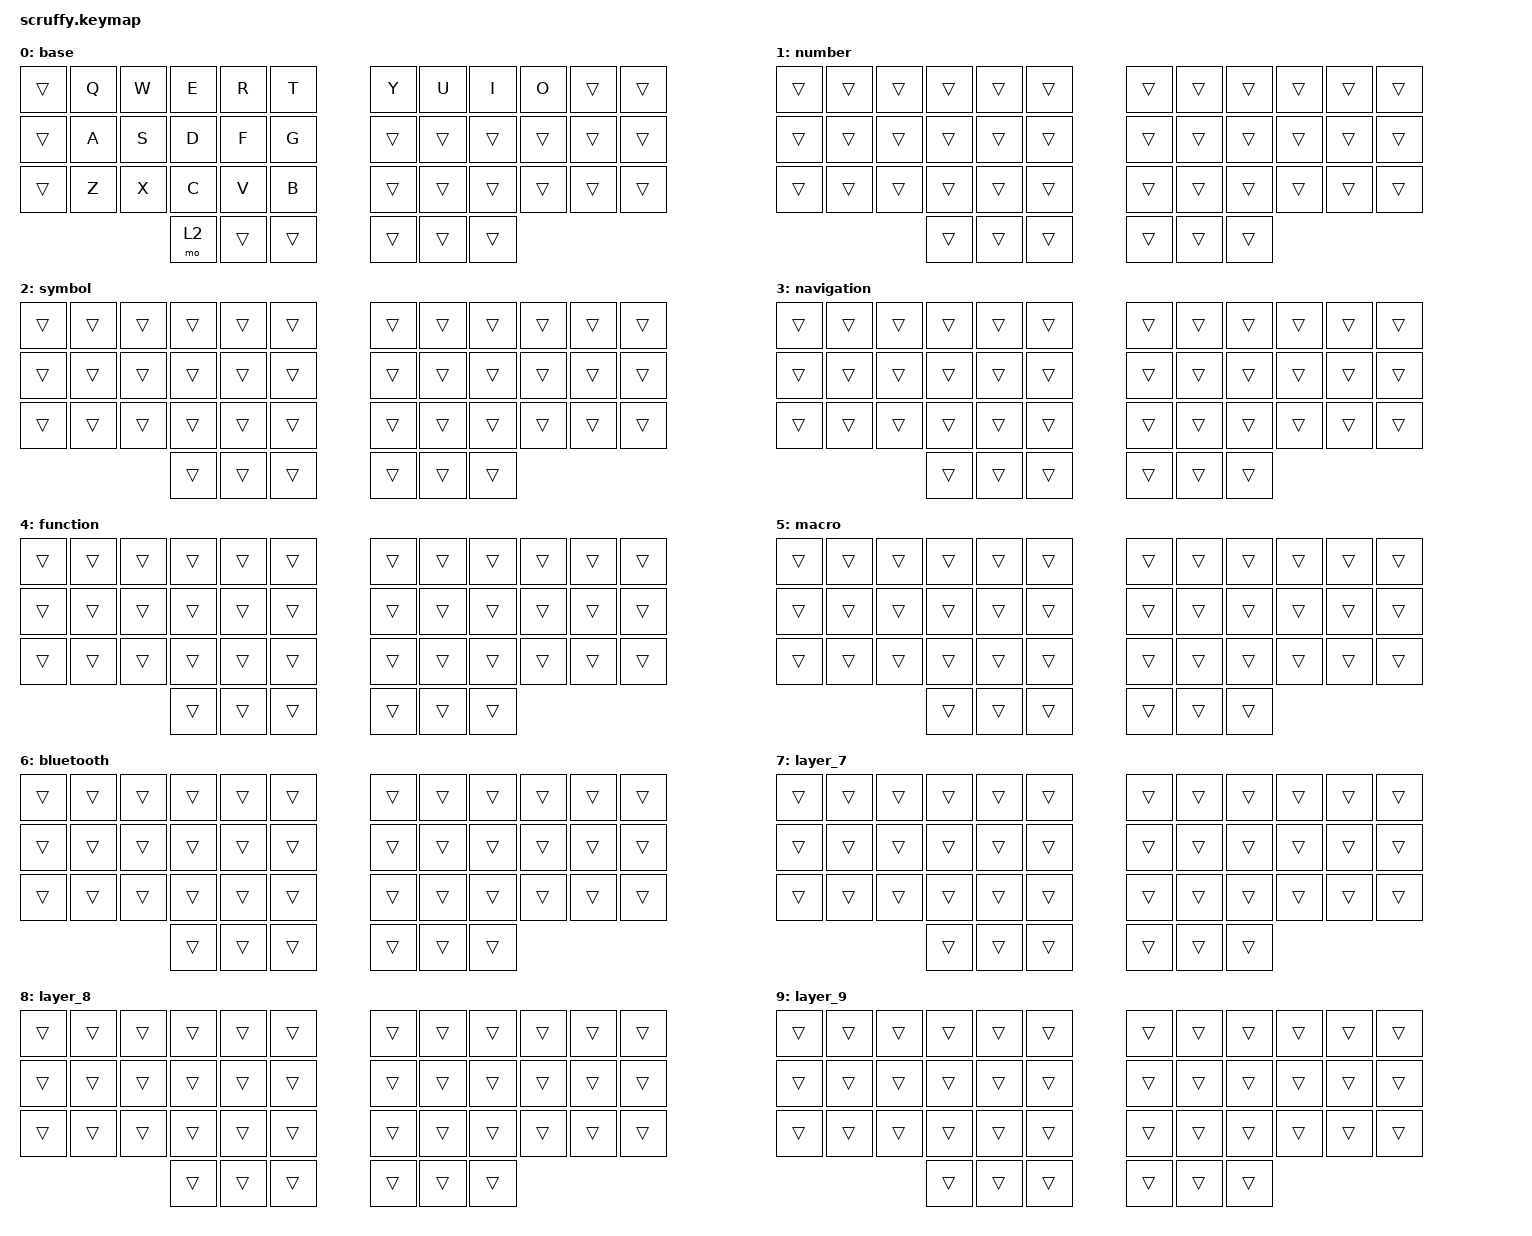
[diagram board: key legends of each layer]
// This file was generated from a template. Edit it to match your keyboard.
// See https://zmk.dev/docs/development/hardware-integration/new-shield for more instructions.

#include <behaviors.dtsi>
#include <dt-bindings/zmk/keys.h>

/ {
    // Define a default keymap here.
    // See https://zmk.dev/docs/development/hardware-integration/new-shield#default-keymap.

    keymap {
        compatible = "zmk,keymap";

        base {
            bindings = <
&trans  &kp Q  &kp W  &kp E  &kp R   &kp T     &kp Y   &kp U   &kp I   &kp O   &trans  &trans
&trans  &kp A  &kp S  &kp D  &kp F   &kp G     &trans  &trans  &trans  &trans  &trans  &trans
&trans  &kp Z  &kp X  &kp C  &kp V   &kp B     &trans  &trans  &trans  &trans  &trans  &trans
                      &mo 2  &trans  &trans    &trans  &trans  &trans
            >;
        };

        number {
            bindings = <
&trans  &trans  &trans  &trans  &trans  &trans    &trans  &trans  &trans  &trans  &trans  &trans
&trans  &trans  &trans  &trans  &trans  &trans    &trans  &trans  &trans  &trans  &trans  &trans
&trans  &trans  &trans  &trans  &trans  &trans    &trans  &trans  &trans  &trans  &trans  &trans
                        &trans  &trans  &trans    &trans  &trans  &trans
            >;
        };

        symbol {
            bindings = <
&trans  &trans  &trans  &trans  &trans  &trans    &trans  &trans  &trans  &trans  &trans  &trans
&trans  &trans  &trans  &trans  &trans  &trans    &trans  &trans  &trans  &trans  &trans  &trans
&trans  &trans  &trans  &trans  &trans  &trans    &trans  &trans  &trans  &trans  &trans  &trans
                        &trans  &trans  &trans    &trans  &trans  &trans
            >;
        };

        navigation {
            bindings = <
&trans  &trans  &trans  &trans  &trans  &trans    &trans  &trans  &trans  &trans  &trans  &trans
&trans  &trans  &trans  &trans  &trans  &trans    &trans  &trans  &trans  &trans  &trans  &trans
&trans  &trans  &trans  &trans  &trans  &trans    &trans  &trans  &trans  &trans  &trans  &trans
                        &trans  &trans  &trans    &trans  &trans  &trans
            >;
        };

        function {
            bindings = <
&trans  &trans  &trans  &trans  &trans  &trans    &trans  &trans  &trans  &trans  &trans  &trans
&trans  &trans  &trans  &trans  &trans  &trans    &trans  &trans  &trans  &trans  &trans  &trans
&trans  &trans  &trans  &trans  &trans  &trans    &trans  &trans  &trans  &trans  &trans  &trans
                        &trans  &trans  &trans    &trans  &trans  &trans
            >;
        };

        macro {
            bindings = <
&trans  &trans  &trans  &trans  &trans  &trans    &trans  &trans  &trans  &trans  &trans  &trans
&trans  &trans  &trans  &trans  &trans  &trans    &trans  &trans  &trans  &trans  &trans  &trans
&trans  &trans  &trans  &trans  &trans  &trans    &trans  &trans  &trans  &trans  &trans  &trans
                        &trans  &trans  &trans    &trans  &trans  &trans
            >;
        };

        bluetooth {
            bindings = <
&trans  &trans  &trans  &trans  &trans  &trans    &trans  &trans  &trans  &trans  &trans  &trans
&trans  &trans  &trans  &trans  &trans  &trans    &trans  &trans  &trans  &trans  &trans  &trans
&trans  &trans  &trans  &trans  &trans  &trans    &trans  &trans  &trans  &trans  &trans  &trans
                        &trans  &trans  &trans    &trans  &trans  &trans
            >;
        };

        layer_7 {
            bindings = <
&trans  &trans  &trans  &trans  &trans  &trans    &trans  &trans  &trans  &trans  &trans  &trans
&trans  &trans  &trans  &trans  &trans  &trans    &trans  &trans  &trans  &trans  &trans  &trans
&trans  &trans  &trans  &trans  &trans  &trans    &trans  &trans  &trans  &trans  &trans  &trans
                        &trans  &trans  &trans    &trans  &trans  &trans
            >;
        };

        layer_8 {
            bindings = <
&trans  &trans  &trans  &trans  &trans  &trans    &trans  &trans  &trans  &trans  &trans  &trans
&trans  &trans  &trans  &trans  &trans  &trans    &trans  &trans  &trans  &trans  &trans  &trans
&trans  &trans  &trans  &trans  &trans  &trans    &trans  &trans  &trans  &trans  &trans  &trans
                        &trans  &trans  &trans    &trans  &trans  &trans
            >;
        };

        layer_9 {
            bindings = <
&trans  &trans  &trans  &trans  &trans  &trans    &trans  &trans  &trans  &trans  &trans  &trans
&trans  &trans  &trans  &trans  &trans  &trans    &trans  &trans  &trans  &trans  &trans  &trans
&trans  &trans  &trans  &trans  &trans  &trans    &trans  &trans  &trans  &trans  &trans  &trans
                        &trans  &trans  &trans    &trans  &trans  &trans
            >;
        };
    };
};
